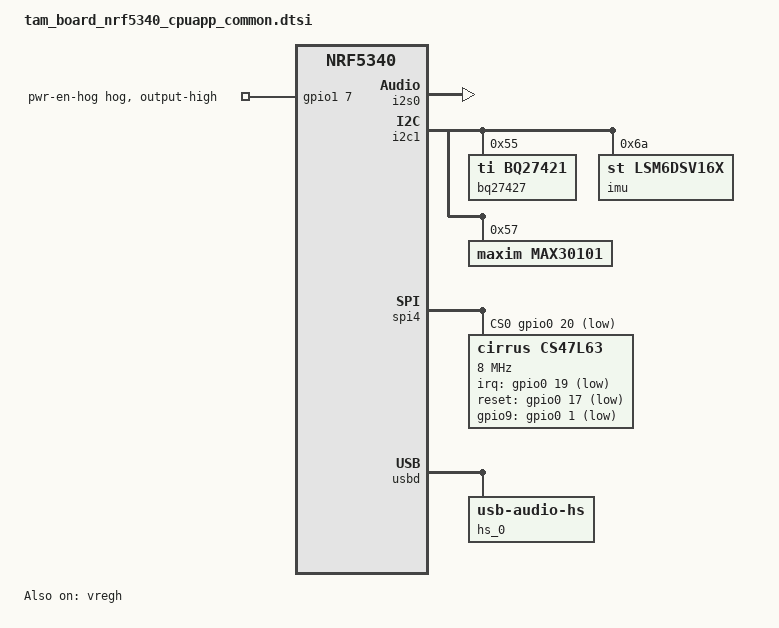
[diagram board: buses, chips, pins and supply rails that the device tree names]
/*
 * Copyright (c) 2020-2022 Nordic Semiconductor ASA
 *
 * SPDX-License-Identifier: Apache-2.0
 */
#include "tam_board_nrf5340_cpuapp_common-pinctrl.dtsi"

/ {
	chosen {
		zephyr,bt-hci = &bt_hci_ipc0;
		watchdog0 = &wdt0;
	};
};

&vregmain {
	regulator-initial-mode = <NRF5X_REG_MODE_DCDC>;
};

&vregradio {
	regulator-initial-mode = <NRF5X_REG_MODE_DCDC>;
};

&vregh {
	status = "okay";
};

&gpiote {
	status = "okay";
};

&gpio0 {
	status = "okay";
};

&gpio1 {
	status = "okay";

	pwr-en-hog {
		gpio-hog;
		gpios = <7 GPIO_ACTIVE_HIGH>;
		output-high;
	};
};

&i2s0 {
	compatible = "nordic,nrf-i2s";
	status = "okay";
	pinctrl-0 = <&i2s0_default>;
	pinctrl-1 = <&i2s0_sleep>;
	pinctrl-names = "default", "sleep";
};

&uart0 {
	status = "disabled";
};

&i2c1 {
	compatible = "nordic,nrf-twim";
	status = "okay";
	pinctrl-0 = <&i2c1_default>;
	pinctrl-1 = <&i2c1_sleep>;
	pinctrl-names = "default", "sleep";

	bq27427: bq27427@55 {
		compatible = "ti,bq27421";
		reg = <0x55>;
	};

	imu: lsm6dsv16x@6a {
		compatible = "st,lsm6dsv16x";
		reg = <0x6a>;
		status = "okay";
	};

	max30101: max30101@57 {
		compatible = "maxim,max30101";
		reg = <0x57>;
		status = "okay";
	};
};

&spi4 {
	compatible = "nordic,nrf-spim";
	status = "okay";
	cs-gpios = <&gpio0 20 GPIO_ACTIVE_LOW>;
	pinctrl-0 = <&spi4_default>;
	pinctrl-1 = <&spi4_sleep>;
	pinctrl-names = "default", "sleep";

	cs47l63: cs47l63@0 {
		compatible = "cirrus,cs47l63";
		reg = <0>;
		spi-max-frequency = <8000000>;
		irq-gpios = <&gpio0 19 GPIO_ACTIVE_LOW>;
		reset-gpios = <&gpio0 17 GPIO_ACTIVE_LOW>;
		gpio9-gpios = <&gpio0 1 GPIO_ACTIVE_LOW>;
	};
};

&pwm0 {
	status = "disabled";
};

zephyr_udc0: &usbd {
	compatible = "nordic,nrf-usbd";
	status = "okay";

	hs_0: hs_0 {
		compatible = "usb-audio-hs";
		mic-feature-mute;
		mic-channel-l;
		mic-channel-r;

		hp-feature-mute;
		hp-channel-l;
		hp-channel-r;
	};
};

/* Include default memory partition configuration file */
#include <common/nordic/nrf5340_cpuapp_partition.dtsi>
#include "tam_board_nrf5340_shared.dtsi"
